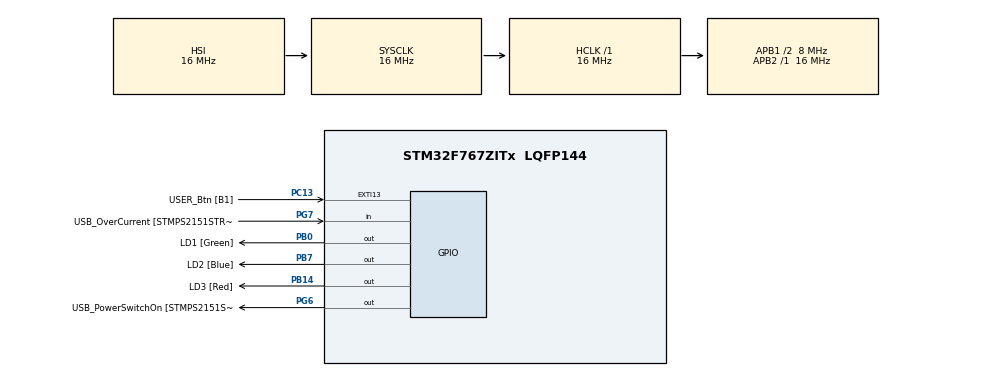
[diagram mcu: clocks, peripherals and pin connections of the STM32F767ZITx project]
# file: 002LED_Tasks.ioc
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Mcu.Family=STM32F7
Mcu.Name=STM32F767ZITx
Mcu.Package=LQFP144
NVIC.PriorityGroup=NVIC_PRIORITYGROUP_4
NVIC.TIM5_IRQn=true\:15\:0\:false\:false\:true\:false\:true\:true
NVIC.TimeBase=TIM5_IRQn
NVIC.TimeBaseIP=TIM5
PA1.GPIO_Label=RMII_REF_CLK [LAN8742A-CZ-TR_REFCLK0]
PA1.Signal=ETH_REF_CLK
PA10.GPIO_Label=USB_ID
PA10.Signal=USB_OTG_FS_ID
PA11.GPIO_Label=USB_DM
PA11.Signal=USB_OTG_FS_DM
PA12.GPIO_Label=USB_DP
PA12.Signal=USB_OTG_FS_DP
PA13.GPIO_Label=TMS
PA13.Signal=SYS_JTMS-SWDIO
PA14.GPIO_Label=TCK
PA14.Signal=SYS_JTCK-SWCLK
PA2.GPIO_Label=RMII_MDIO [LAN8742A-CZ-TR_MDIO]
PA2.Signal=ETH_MDIO
PA7.GPIO_Label=RMII_CRS_DV [LAN8742A-CZ-TR_CRS_DV]
PA7.Signal=ETH_CRS_DV
PA8.GPIO_Label=USB_SOF [TP1]
PA8.Signal=USB_OTG_FS_SOF
PA9.GPIO_Label=USB_VBUS
PA9.Signal=USB_OTG_FS_VBUS
PB0.GPIO_Label=LD1 [Green]
PB0.Signal=GPIO_Output
PB13.GPIO_Label=RMII_TXD1 [LAN8742A-CZ-TR_TXD1]
PB13.Signal=ETH_TXD1
PB14.GPIO_Label=LD3 [Red]
PB14.Signal=GPIO_Output
PB3.GPIO_Label=SW0
PB3.Signal=SYS_JTDO-SWO
PB7.GPIO_Label=LD2 [Blue]
PB7.Signal=GPIO_Output
PC1.GPIO_Label=RMII_MDC [LAN8742A-CZ-TR_MDC]
PC1.Signal=ETH_MDC
PC13.GPIO_Label=USER_Btn [B1]
PC13.Signal=GPXTI13
PC14/OSC32_IN.Signal=RCC_OSC32_IN
PC15/OSC32_OUT.Signal=RCC_OSC32_OUT
PC4.GPIO_Label=RMII_RXD0 [LAN8742A-CZ-TR_RXD0]
PC4.Signal=ETH_RXD0
PC5.GPIO_Label=RMII_RXD1 [LAN8742A-CZ-TR_RXD1]
PC5.Signal=ETH_RXD1
PD8.GPIO_Label=STLK_RX [STM32F103CBT6_PA3]
PD8.Signal=USART3_TX
PD9.GPIO_Label=STLK_TX [STM32F103CBT6_PA2]
PD9.Signal=USART3_RX
PG11.GPIO_Label=RMII_TX_EN [LAN8742A-CZ-TR_TXEN]
PG11.Signal=ETH_TX_EN
PG13.GPIO_Label=RMII_TXD0 [LAN8742A-CZ-TR_TXD0]
PG13.Signal=ETH_TXD0
PG6.GPIO_Label=USB_PowerSwitchOn [STMPS2151STR_EN]
PG6.Signal=GPIO_Output
PG7.GPIO_Label=USB_OverCurrent [STMPS2151STR_FAULT]
PG7.Signal=GPIO_Input
PH0/OSC_IN.GPIO_Label=MCO [STM32F103CBT6_PA8]
PH0/OSC_IN.Signal=RCC_OSC_IN
PH1/OSC_OUT.Signal=RCC_OSC_OUT
ProjectManager.HeapSize=0x200
ProjectManager.StackSize=0x400
ProjectManager.TargetToolchain=STM32CubeIDE
RCC.48MHZClocksFreq_Value=24000000
RCC.AHBFreq_Value=16000000
RCC.APB1CLKDivider=RCC_HCLK_DIV2
RCC.APB1Freq_Value=8000000
RCC.APB1TimFreq_Value=16000000
RCC.APB2Freq_Value=16000000
RCC.APB2TimFreq_Value=16000000
RCC.CortexFreq_Value=16000000
RCC.HCLKFreq_Value=16000000
RCC.HSE_VALUE=16000000
RCC.HSI_VALUE=16000000
RCC.LSE_VALUE=32768
RCC.PLLMUL=RCC_PLL_MUL9
RCC.PRESCALERUSB=RCC_USBCLKSOURCE_PLL_DIV1_5
RCC.SYSCLKFreq_VALUE=16000000
RCC.SYSCLKSourceVirtual=RCC_SYSCLKSOURCE_PLLCLK
RCC.USBFreq_Value=96000000
RCC.VCOOutputFreq_Value=192000000
VP_SYS_VS_tim5.Mode=TIM5
board=NUCLEO-F767ZI

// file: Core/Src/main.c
/* USER CODE BEGIN Header */
/**
 ******************************************************************************
 * @file           : main.c
 * @brief          : Main program body
 ******************************************************************************
 * @attention
 *
 * Copyright (c) 2024 STMicroelectronics.
 * All rights reserved.
 *
 * This software is licensed under terms that can be found in the LICENSE file
 * in the root directory of this software component.
 * If no LICENSE file comes with this software, it is provided AS-IS.
 *
 ******************************************************************************
 */
/* USER CODE END Header */
#include "main.h"

/* USER CODE BEGIN Includes */
#include "FreeRTOS.h"
#include "task.h"
/* USER CODE END Includes */

/* USER CODE BEGIN PM */
#define DWT_CTRL	(*(volatile uint32_t*)0xE0001000)	// check at cm7

/* USER CODE END PM */

void SystemClock_Config(void);
static void MX_GPIO_Init(void);
/* USER CODE BEGIN PFP */

static void led_green_handler(void* parameters);
static void led_blue_handler(void* parameters);
static void led_red_handler(void* parameters);

/* USER CODE END PFP */

int main(void)
{

	/* USER CODE BEGIN 1 */
	TaskHandle_t task1_handle;
	TaskHandle_t task2_handle;
	TaskHandle_t task3_handle;

	BaseType_t status;

	/* USER CODE END 1 */

	/* MCU Configuration--------------------------------------------------------*/

	/* Reset of all peripherals, Initializes the Flash interface and the Systick. */
	HAL_Init();

	/* USER CODE BEGIN Init */

	/* USER CODE END Knit */

	/* Configure the system clock */
	SystemClock_Config();

	/* Initialize all configured peripherals */
	MX_GPIO_Init();
	/* USER CODE BEGIN 2 */

	DWT_CTRL |= (1 << 0);
//	CoreDebug->DEMCR |= CoreDebug_DEMCR_TRCENA_Msk;
//
//	DWT->LAR = 0xC5ACCE55;
//
//	DWT->CYCCNT = 0;
//
//	DWT->CTRL |= DWT_CTRL_CYCCNTENA_Msk;

	SEGGER_SYSVIEW_Conf();
	SEGGER_SYSVIEW_Start();

	status = xTaskCreate(led_green_handler, "LED_green_task", 200, NULL, 2, &task1_handle);
	configASSERT(status == pdPASS);
	status = xTaskCreate(led_blue_handler, "LED_blue_task", 200, NULL, 2, &task2_handle);
	configASSERT(status == pdPASS);
	status = xTaskCreate(led_red_handler, "LED_red_task", 200, NULL, 2, &task3_handle);
	configASSERT(status == pdPASS);

	vTaskStartScheduler();
	/* USER CODE END 2 */

	/* Infinite loop */
	while (1)
	{

	}
}

void SystemClock_Config(void)
{
	RCC_OscInitTypeDef RCC_OscInitStruct = {0};
	RCC_ClkInitTypeDef RCC_ClkInitStruct = {0};

	/** Configure the main internal regulator output voltage
	 */
	__HAL_RCC_PWR_CLK_ENABLE();
	__HAL_PWR_VOLTAGESCALING_CONFIG(PWR_REGULATOR_VOLTAGE_SCALE3);

	/** Initializes the RCC Oscillators according to the specified parameters
	 * in the RCC_OscInitTypeDef structure.
	 */
	RCC_OscInitStruct.OscillatorType = RCC_OSCILLATORTYPE_HSI;
	RCC_OscInitStruct.HSIState = RCC_HSI_ON;
	RCC_OscInitStruct.HSICalibrationValue = RCC_HSICALIBRATION_DEFAULT;
	RCC_OscInitStruct.PLL.PLLState = RCC_PLL_NONE;
	if (HAL_RCC_OscConfig(&RCC_OscInitStruct) != HAL_OK)
	{
		Error_Handler();
	}

	/** Initializes the CPU, AHB and APB buses clocks
	 */
	RCC_ClkInitStruct.ClockType = RCC_CLOCKTYPE_HCLK|RCC_CLOCKTYPE_SYSCLK
			|RCC_CLOCKTYPE_PCLK1|RCC_CLOCKTYPE_PCLK2;
	RCC_ClkInitStruct.SYSCLKSource = RCC_SYSCLKSOURCE_HSI;
	RCC_ClkInitStruct.AHBCLKDivider = RCC_SYSCLK_DIV1;
	RCC_ClkInitStruct.APB1CLKDivider = RCC_HCLK_DIV2;
	RCC_ClkInitStruct.APB2CLKDivider = RCC_HCLK_DIV1;

	if (HAL_RCC_ClockConfig(&RCC_ClkInitStruct, FLASH_LATENCY_0) != HAL_OK)
	{
		Error_Handler();
	}
}

static void MX_GPIO_Init(void)
{
	GPIO_InitTypeDef GPIO_InitStruct = {0};

	/* GPIO Ports Clock Enable */
	__HAL_RCC_GPIOC_CLK_ENABLE();
	__HAL_RCC_GPIOH_CLK_ENABLE();
	__HAL_RCC_GPIOA_CLK_ENABLE();
	__HAL_RCC_GPIOB_CLK_ENABLE();
	__HAL_RCC_GPIOD_CLK_ENABLE();
	__HAL_RCC_GPIOG_CLK_ENABLE();

	/*Configure GPIO pin Output Level */
	HAL_GPIO_WritePin(GPIOB, LD1_Pin|LD3_Pin|LD2_Pin, GPIO_PIN_RESET);

	/*Configure GPIO pin Output Level */
	HAL_GPIO_WritePin(USB_PowerSwitchOn_GPIO_Port, USB_PowerSwitchOn_Pin, GPIO_PIN_RESET);

	/*Configure GPIO pin : USER_Btn_Pin */
	GPIO_InitStruct.Pin = USER_Btn_Pin;
	GPIO_InitStruct.Mode = GPIO_MODE_IT_RISING;
	GPIO_InitStruct.Pull = GPIO_NOPULL;
	HAL_GPIO_Init(USER_Btn_GPIO_Port, &GPIO_InitStruct);

	/*Configure GPIO pins : RMII_MDC_Pin RMII_RXD0_Pin RMII_RXD1_Pin */
	GPIO_InitStruct.Pin = RMII_MDC_Pin|RMII_RXD0_Pin|RMII_RXD1_Pin;
	GPIO_InitStruct.Mode = GPIO_MODE_AF_PP;
	GPIO_InitStruct.Pull = GPIO_NOPULL;
	GPIO_InitStruct.Speed = GPIO_SPEED_FREQ_VERY_HIGH;
	GPIO_InitStruct.Alternate = GPIO_AF11_ETH;
	HAL_GPIO_Init(GPIOC, &GPIO_InitStruct);

	/*Configure GPIO pins : RMII_REF_CLK_Pin RMII_MDIO_Pin RMII_CRS_DV_Pin */
	GPIO_InitStruct.Pin = RMII_REF_CLK_Pin|RMII_MDIO_Pin|RMII_CRS_DV_Pin;
	GPIO_InitStruct.Mode = GPIO_MODE_AF_PP;
	GPIO_InitStruct.Pull = GPIO_NOPULL;
	GPIO_InitStruct.Speed = GPIO_SPEED_FREQ_VERY_HIGH;
	GPIO_InitStruct.Alternate = GPIO_AF11_ETH;
	HAL_GPIO_Init(GPIOA, &GPIO_InitStruct);

	/*Configure GPIO pins : LD1_Pin LD3_Pin LD2_Pin */
	GPIO_InitStruct.Pin = LD1_Pin|LD3_Pin|LD2_Pin;
	GPIO_InitStruct.Mode = GPIO_MODE_OUTPUT_PP;
	GPIO_InitStruct.Pull = GPIO_NOPULL;
	GPIO_InitStruct.Speed = GPIO_SPEED_FREQ_LOW;
	HAL_GPIO_Init(GPIOB, &GPIO_InitStruct);

	/*Configure GPIO pin : RMII_TXD1_Pin */
	GPIO_InitStruct.Pin = RMII_TXD1_Pin;
	GPIO_InitStruct.Mode = GPIO_MODE_AF_PP;
	GPIO_InitStruct.Pull = GPIO_NOPULL;
	GPIO_InitStruct.Speed = GPIO_SPEED_FREQ_VERY_HIGH;
	GPIO_InitStruct.Alternate = GPIO_AF11_ETH;
	HAL_GPIO_Init(RMII_TXD1_GPIO_Port, &GPIO_InitStruct);

	/*Configure GPIO pins : STLK_RX_Pin STLK_TX_Pin */
	GPIO_InitStruct.Pin = STLK_RX_Pin|STLK_TX_Pin;
	GPIO_InitStruct.Mode = GPIO_MODE_AF_PP;
	GPIO_InitStruct.Pull = GPIO_NOPULL;
	GPIO_InitStruct.Speed = GPIO_SPEED_FREQ_VERY_HIGH;
	GPIO_InitStruct.Alternate = GPIO_AF7_USART3;
	HAL_GPIO_Init(GPIOD, &GPIO_InitStruct);

	/*Configure GPIO pin : USB_PowerSwitchOn_Pin */
	GPIO_InitStruct.Pin = USB_PowerSwitchOn_Pin;
	GPIO_InitStruct.Mode = GPIO_MODE_OUTPUT_PP;
	GPIO_InitStruct.Pull = GPIO_NOPULL;
	GPIO_InitStruct.Speed = GPIO_SPEED_FREQ_LOW;
	HAL_GPIO_Init(USB_PowerSwitchOn_GPIO_Port, &GPIO_InitStruct);

	/*Configure GPIO pin : USB_OverCurrent_Pin */
	GPIO_InitStruct.Pin = USB_OverCurrent_Pin;
	GPIO_InitStruct.Mode = GPIO_MODE_INPUT;
	GPIO_InitStruct.Pull = GPIO_NOPULL;
	HAL_GPIO_Init(USB_OverCurrent_GPIO_Port, &GPIO_InitStruct);

	/*Configure GPIO pins : USB_SOF_Pin USB_ID_Pin USB_DM_Pin USB_DP_Pin */
	GPIO_InitStruct.Pin = USB_SOF_Pin|USB_ID_Pin|USB_DM_Pin|USB_DP_Pin;
	GPIO_InitStruct.Mode = GPIO_MODE_AF_PP;
	GPIO_InitStruct.Pull = GPIO_NOPULL;
	GPIO_InitStruct.Speed = GPIO_SPEED_FREQ_VERY_HIGH;
	GPIO_InitStruct.Alternate = GPIO_AF10_OTG_FS;
	HAL_GPIO_Init(GPIOA, &GPIO_InitStruct);

	/*Configure GPIO pin : USB_VBUS_Pin */
	GPIO_InitStruct.Pin = USB_VBUS_Pin;
	GPIO_InitStruct.Mode = GPIO_MODE_INPUT;
	GPIO_InitStruct.Pull = GPIO_NOPULL;
	HAL_GPIO_Init(USB_VBUS_GPIO_Port, &GPIO_InitStruct);

	/*Configure GPIO pins : RMII_TX_EN_Pin RMII_TXD0_Pin */
	GPIO_InitStruct.Pin = RMII_TX_EN_Pin|RMII_TXD0_Pin;
	GPIO_InitStruct.Mode = GPIO_MODE_AF_PP;
	GPIO_InitStruct.Pull = GPIO_NOPULL;
	GPIO_InitStruct.Speed = GPIO_SPEED_FREQ_VERY_HIGH;
	GPIO_InitStruct.Alternate = GPIO_AF11_ETH;
	HAL_GPIO_Init(GPIOG, &GPIO_InitStruct);

}

/* USER CODE BEGIN 4 */
static void led_green_handler(void* parameters)
{
	while(1)
	{
		SEGGER_SYSVIEW_PrintfTarget("Toggling green LED");
		HAL_GPIO_TogglePin(GPIOB, GPIO_PIN_0);
		HAL_Delay(1000);
	}
}

static void led_blue_handler(void* parameters)
{
	while(1)
	{
		SEGGER_SYSVIEW_PrintfTarget("Toggling blue LED");
		HAL_GPIO_TogglePin(GPIOB, GPIO_PIN_7);
		HAL_Delay(800);
	}
}

static void led_red_handler(void* parameters)
{
	while(1)
	{
		SEGGER_SYSVIEW_PrintfTarget("Toggling red LED");
		HAL_GPIO_TogglePin(GPIOB, GPIO_PIN_14);
		HAL_Delay(400);
	}
}
/* USER CODE END 4 */

void HAL_TIM_PeriodElapsedCallback(TIM_HandleTypeDef *htim)
{
	if (htim->Instance == TIM5) {
		HAL_IncTick();
	}
}

void Error_Handler(void)
{
	__disable_irq();
	while (1)
	{
	}
}
